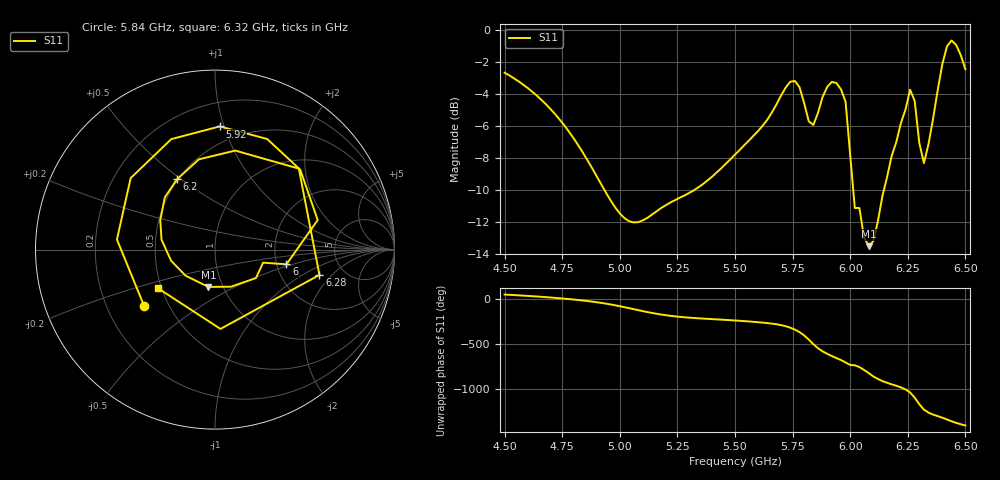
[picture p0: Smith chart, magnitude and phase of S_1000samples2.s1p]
! TOUCHSTONE file generated by CST MICROWAVE STUDIO
! Date and time: Wed Oct 26 15:51:42 2022
! Project name: L.cst
! Parameters = {Di=1.27; Epsilon_r=1.56; InnerDiameter=1.27; Length=2; Lf=10; Lg=60; OuterConductorThickness=0.2921; OuterDiameter=3.6; Wf=3; Wp=41.2; de=1.5; df=6.8; g=0.8; gx=1.68192; gy=1.31927; h=2.34; hf=1.524; px=11.962; py=13.6431; w=9.7; wx=10.2801; wy=12.3238}
! Header version: 2018
! Port assignment regex: !\s*Touchstone port\s*([0-9]+)\s*=\s*(CST MWS port|CST DS port)\s*([0-9]+|Zmin|Zmax)\s*\(\"(.*)\"\)(\s*mode\s*([0-9]+))?.*
! Touchstone port assignment:
! Touchstone port 1 = CST MWS port 1 ("")
# GHz S DB R 50
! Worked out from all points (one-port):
!   101 points, 4.5 GHz to 6.5 GHz, reference 50 ohm
!   lowest |S11| = -13.5 dB at 6.08 GHz (marker M1), VSWR 1.54, Z = 42.7 - j18.6 ohm
!   |S11| at or under -10 dB: 4.933 GHz to 5.324 GHz (390.7 MHz wide, 7.62 % of centre); 6.013 GHz to 6.146 GHz (133.2 MHz wide, 2.19 % of centre)
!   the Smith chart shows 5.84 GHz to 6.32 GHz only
!   S11 on the Smith chart (normalised r, x): 5.84 GHz: 0.36, -0.31; 5.92 GHz: 0.37, +0.97; 6 GHz: 2.26, -0.45; 6.2 GHz: 0.49, +0.48; 6.28 GHz: 3.29, -1.45; 6.32 GHz: 0.48, -0.24
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4.5  -2.69 47.4
4.76  -5.99 1.9
5  -11.47 -81.5
5.26  -10.49 160.8
5.5  -7.79 120.4
5.7  -4.11 69.2
5.76  -3.21 19.7
5.78  -3.59 -8.0
5.8  -4.58 -44.6
5.82  -5.72 -90.7
5.84  -5.95 -141.7
5.86  -5.20 174.1
5.88  -4.21 139.7
5.92  -3.26 87.8
5.98  -4.51 16.0
6  -7.82 -11.7
6.08  -13.51 -100.0
6.14  -10.37 169.5
6.2  -7.02 118.3
6.24  -4.99 78.5
6.26  -3.75 44.0
6.28  -4.45 -13.6
6.3  -7.07 -86.1
6.32  -8.33 -145.8
6.38  -3.76 142.6
6.42  -1.05 105.3
6.46  -0.96 67.9
6.5  -2.47 39.2
